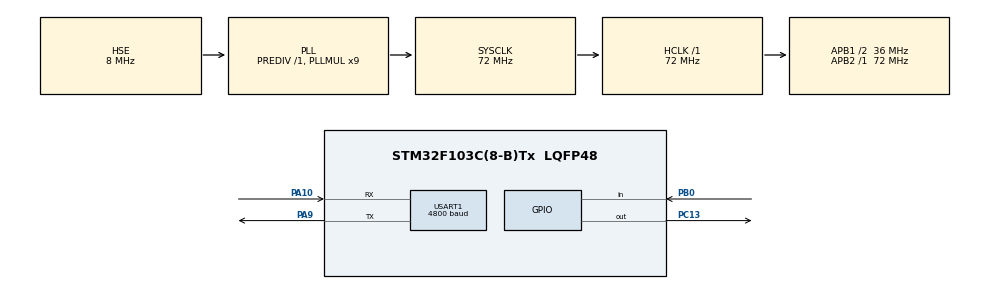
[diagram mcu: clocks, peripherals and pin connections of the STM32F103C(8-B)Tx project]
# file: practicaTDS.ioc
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Mcu.Family=STM32F1
Mcu.Name=STM32F103C(8-B)Tx
Mcu.Package=LQFP48
NVIC.PriorityGroup=NVIC_PRIORITYGROUP_4
PA10.Mode=Asynchronous
PA10.Signal=USART1_RX
PA13.Mode=Serial_Wire
PA13.Signal=SYS_JTMS-SWDIO
PA14.Mode=Serial_Wire
PA14.Signal=SYS_JTCK-SWCLK
PA9.Mode=Asynchronous
PA9.Signal=USART1_TX
PB0.GPIO_PuPd=GPIO_PULLUP
PB0.Signal=GPIO_Input
PC13-TAMPER-RTC.Signal=GPIO_Output
PD0-OSC_IN.Mode=HSE-External-Oscillator
PD0-OSC_IN.Signal=RCC_OSC_IN
PD1-OSC_OUT.Mode=HSE-External-Oscillator
PD1-OSC_OUT.Signal=RCC_OSC_OUT
ProjectManager.HeapSize=0x200
ProjectManager.StackSize=0x400
ProjectManager.TargetToolchain=STM32CubeIDE
RCC.AHBFreq_Value=72000000
RCC.APB1CLKDivider=RCC_HCLK_DIV2
RCC.APB1Freq_Value=36000000
RCC.APB1TimFreq_Value=72000000
RCC.APB2Freq_Value=72000000
RCC.APB2TimFreq_Value=72000000
RCC.HCLKFreq_Value=72000000
RCC.PLLMUL=RCC_PLL_MUL9
RCC.PLLSourceVirtual=RCC_PLLSOURCE_HSE
RCC.SYSCLKFreq_VALUE=72000000
RCC.SYSCLKSource=RCC_SYSCLKSOURCE_PLLCLK
RCC.USBFreq_Value=72000000
USART1.BaudRate=4800
USART1.VirtualMode=VM_ASYNC
board=custom

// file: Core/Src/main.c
/* USER CODE BEGIN Header */
/**
  ******************************************************************************
  * @file           : main.c
  * @brief          : Main program body
  ******************************************************************************
  * @attention
  *
  * <h2><center>&copy; Copyright (c) 2021 STMicroelectronics.
  * All rights reserved.</center></h2>
  *
  * This software component is licensed by ST under BSD 3-Clause license,
  * the "License"; You may not use this file except in compliance with the
  * License. You may obtain a copy of the License at:
  *                        opensource.org/licenses/BSD-3-Clause
  *
  ******************************************************************************
  */
/* USER CODE END Header */
#include "main.h"

/* USER CODE BEGIN Includes */
#include "miniplanificador.h"
#include "timer_monitor.h"
#include "arrebote.h"
#include "dwt.h"
#include "sha3.h"
/* USER CODE END Includes */

/* USER CODE BEGIN PD */
#define TICKS_SISTEMA			(5)
#define LEN_TASK_LIST			(8)
#define PULSADOR_ACTIVO_BAJO	(1)
#define PULSADOR_TICS			(20)
#define PULSADOR_PUERTO			(GPIOB)
#define PULSADOR_PIN			(GPIO_PIN_0)
#define LED_PLACA_PUERTO		(GPIOC)
#define LED_PLACA_PIN			(GPIO_PIN_13)
#define LED_TICKS				(43)
#define LEN_BUFFER_SERIE		(128)
/* USER CODE END PD */

UART_HandleTypeDef huart1;

/* USER CODE BEGIN PV */
	uint32_t conteo_ticks_tds;
	uint32_t enviar_serie;
	uint32_t serie_disponible;
	uint8_t buffer_serie[LEN_BUFFER_SERIE];
	uint8_t* hash;
	TaskStat lista_tareas[LEN_TASK_LIST];
	arrebote pulsador;
	sha3_context c;

/* USER CODE END PV */

void SystemClock_Config(void);
static void MX_GPIO_Init(void);
static void MX_USART1_UART_Init(void);

/* USER CODE BEGIN 0 */
void falla_sistema(void)
{
	/*Si una tarea se pasa de ticks se hace fallar al sistema*/
	/*__disable_irq();
	while (1)
	{
		for (uint32_t i = 0; i < 100000; i++);
		HAL_GPIO_TogglePin(LED_PLACA_PUERTO, LED_PLACA_PIN);
	}*/
}

uint32_t xorshift32(void)
{
	static uint32_t x = 5761455;
	x ^= x << 13;
	x ^= x >> 17;
	x ^= x << 5;
	return x;
}

void tarea_calculo(void *p)
{
	uint32_t clave;
	chequear_arrebote(&pulsador, HAL_GPIO_ReadPin(PULSADOR_PUERTO, PULSADOR_PIN));
	if(hay_flanco_arrebote(&pulsador) && serie_disponible)
	{
		clave = xorshift32();
		sha3_Init512(&c);
		sha3_Update(&c, &clave, sizeof(clave));
		hash = (uint8_t*)sha3_Finalize(&c);
		enviar_serie = 1;
	}
}

char bin2hex(uint8_t valor, uint32_t nibble)
{
	if(nibble) valor>>=4;
	valor&=0x0F;
	valor+='0';
	if(valor>'9') valor+=7;
	return valor;
}

void tarea_serie(void *p)
{
	int i;
	static uint32_t estado = 0;
	if(enviar_serie && estado==0)
	{
		enviar_serie = 0;
		serie_disponible = 0;
		for(i=0; i<64; i++)
		{
			buffer_serie[i*2+0]=bin2hex(hash[i], 1);
			buffer_serie[i*2+1]=bin2hex(hash[i], 0);
		}
		buffer_serie[64]='\r';
		buffer_serie[65]='\n';
		buffer_serie[66]=0;
		huart1.Instance->DR = buffer_serie[0];
		estado++;
	}
	else if(estado>0 && estado<66)
	{
		if( huart1.Instance->SR&UART_FLAG_TXE)
		{
			huart1.Instance->DR = buffer_serie[estado++];
		}
	}
	else if(estado == 66)
	{
		if(huart1.Instance->SR&UART_FLAG_TXE)
		{
			estado = 0;
			serie_disponible = 1;
		}
	}
}

void tarea_led(void *p)
{
	static uint32_t tics = LED_TICKS;
	if(!--tics)
	{
		tics = LED_TICKS;
		HAL_GPIO_TogglePin(LED_PLACA_PUERTO, LED_PLACA_PIN);
	}
}
/* USER CODE END 0 */

int main(void)
{
  /* USER CODE BEGIN 1 */
	uint32_t ticks = 0;
  /* USER CODE END 1 */

  /* MCU Configuration--------------------------------------------------------*/

  /* Reset of all peripherals, Initializes the Flash interface and the Systick. */
  HAL_Init();

  /* Configure the system clock */
  SystemClock_Config();

  /* Initialize all configured peripherals */
  MX_GPIO_Init();
  MX_USART1_UART_Init();
  /* USER CODE BEGIN 2 */
  inic_timer(1);
  inicializar_despachador(lista_tareas, LEN_TASK_LIST, start_timer, stop_timer, falla_sistema);
  inicializar_arrebote(&pulsador, PULSADOR_ACTIVO_BAJO, PULSADOR_TICS);
  agregar_tarea(lista_tareas, tarea_calculo, NULL, 0, 1, 0, 60000);
  agregar_tarea(lista_tareas, tarea_serie,   NULL, 0, 1, 0, 60000);
  agregar_tarea(lista_tareas, tarea_led,     NULL, 0, 3, 0, 60000);
  enviar_serie = 0;
  serie_disponible = 1;
  conteo_ticks_tds = HAL_GetTick();
  dwt_inic();
  /* USER CODE END 2 */

  /* Infinite loop */
  while (1)
  {

    /* USER CODE BEGIN 3 */
	  dwt_reset();
	  if((HAL_GetTick()-conteo_ticks_tds)>=TICKS_SISTEMA)
	  {
		  conteo_ticks_tds = HAL_GetTick();
		  despachar_tareas();
	  }
	  if(dwt_read()>ticks)
	  {
		  ticks = dwt_read();
	  }
  }
  UNUSED(ticks);
  /* USER CODE END 3 */
}

void SystemClock_Config(void)
{
  RCC_OscInitTypeDef RCC_OscInitStruct = {0};
  RCC_ClkInitTypeDef RCC_ClkInitStruct = {0};

  /** Initializes the RCC Oscillators according to the specified parameters
  * in the RCC_OscInitTypeDef structure.
  */
  RCC_OscInitStruct.OscillatorType = RCC_OSCILLATORTYPE_HSE;
  RCC_OscInitStruct.HSEState = RCC_HSE_ON;
  RCC_OscInitStruct.HSEPredivValue = RCC_HSE_PREDIV_DIV1;
  RCC_OscInitStruct.HSIState = RCC_HSI_ON;
  RCC_OscInitStruct.PLL.PLLState = RCC_PLL_ON;
  RCC_OscInitStruct.PLL.PLLSource = RCC_PLLSOURCE_HSE;
  RCC_OscInitStruct.PLL.PLLMUL = RCC_PLL_MUL9;
  if (HAL_RCC_OscConfig(&RCC_OscInitStruct) != HAL_OK)
  {
    Error_Handler();
  }
  /** Initializes the CPU, AHB and APB buses clocks
  */
  RCC_ClkInitStruct.ClockType = RCC_CLOCKTYPE_HCLK|RCC_CLOCKTYPE_SYSCLK
                              |RCC_CLOCKTYPE_PCLK1|RCC_CLOCKTYPE_PCLK2;
  RCC_ClkInitStruct.SYSCLKSource = RCC_SYSCLKSOURCE_PLLCLK;
  RCC_ClkInitStruct.AHBCLKDivider = RCC_SYSCLK_DIV1;
  RCC_ClkInitStruct.APB1CLKDivider = RCC_HCLK_DIV2;
  RCC_ClkInitStruct.APB2CLKDivider = RCC_HCLK_DIV1;

  if (HAL_RCC_ClockConfig(&RCC_ClkInitStruct, FLASH_LATENCY_2) != HAL_OK)
  {
    Error_Handler();
  }
}

static void MX_USART1_UART_Init(void)
{

  huart1.Instance = USART1;
  huart1.Init.BaudRate = 4800;
  huart1.Init.WordLength = UART_WORDLENGTH_8B;
  huart1.Init.StopBits = UART_STOPBITS_1;
  huart1.Init.Parity = UART_PARITY_NONE;
  huart1.Init.Mode = UART_MODE_TX_RX;
  huart1.Init.HwFlowCtl = UART_HWCONTROL_NONE;
  huart1.Init.OverSampling = UART_OVERSAMPLING_16;
  if (HAL_UART_Init(&huart1) != HAL_OK)
  {
    Error_Handler();
  }

}

static void MX_GPIO_Init(void)
{
  GPIO_InitTypeDef GPIO_InitStruct = {0};

  /* GPIO Ports Clock Enable */
  __HAL_RCC_GPIOC_CLK_ENABLE();
  __HAL_RCC_GPIOD_CLK_ENABLE();
  __HAL_RCC_GPIOB_CLK_ENABLE();
  __HAL_RCC_GPIOA_CLK_ENABLE();

  /*Configure GPIO pin Output Level */
  HAL_GPIO_WritePin(GPIOC, GPIO_PIN_13, GPIO_PIN_RESET);

  /*Configure GPIO pin : PC13 */
  GPIO_InitStruct.Pin = GPIO_PIN_13;
  GPIO_InitStruct.Mode = GPIO_MODE_OUTPUT_PP;
  GPIO_InitStruct.Pull = GPIO_NOPULL;
  GPIO_InitStruct.Speed = GPIO_SPEED_FREQ_LOW;
  HAL_GPIO_Init(GPIOC, &GPIO_InitStruct);

  /*Configure GPIO pin : PB0 */
  GPIO_InitStruct.Pin = GPIO_PIN_0;
  GPIO_InitStruct.Mode = GPIO_MODE_INPUT;
  GPIO_InitStruct.Pull = GPIO_PULLUP;
  HAL_GPIO_Init(GPIOB, &GPIO_InitStruct);

}

void Error_Handler(void)
{
  __disable_irq();
  while (1)
  {
  }
}

/************************ (C) COPYRIGHT STMicroelectronics *****END OF FILE****/
